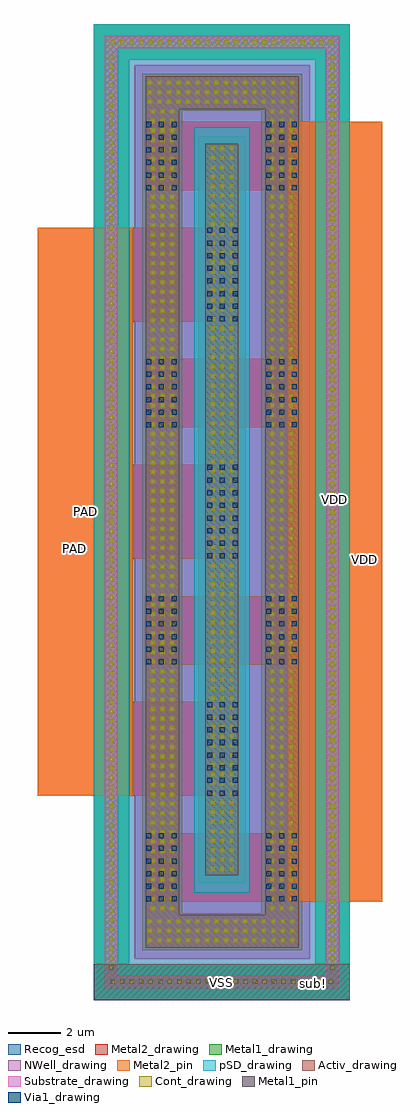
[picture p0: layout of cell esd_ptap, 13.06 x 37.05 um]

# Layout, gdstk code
import gdstk
lib = gdstk.Library(unit=1e-6, precision=1e-09)
def R(c, l, rs):  # rectangles x0, y0, x1, y1
    for r in rs: c.add(gdstk.rectangle(r[:2], r[2:], *l))
def A(c, l, x, y, w, h, nx, ny, dx, dy):  # array of equal rectangles
    R(c, l, [(x+i*dx, y+j*dy, x+i*dx+w, y+j*dy+h) for i in range(nx) for j in range(ny)])
def P(c, l, *ps):  # polygons
    for p in ps: c.add(gdstk.Polygon(p, *l))
Activ_drawing = (1, 0)
Cont_drawing = (6, 0)
Metal1_drawing = (8, 0)
Metal1_pin = (8, 2)
Metal2_drawing = (10, 0)
Metal2_pin = (10, 2)
pSD_drawing = (14, 0)
Via1_drawing = (19, 0)
NWell_drawing = (31, 0)
Substrate_drawing = (40, 0)
Recog_esd = (99, 30)

esd_ptap = lib.new_cell('esd_ptap')
R(esd_ptap, Activ_drawing, [(3.28,4.885,4.54,32.665)])
P(esd_ptap, Activ_drawing, [(1.03,2.135),(1.03,3.395),(5.56,3.395),(5.56,33.965),(2.29,33.965),(2.29,3.395),(1.03,3.395),(1.03,35.225),(6.82,35.225),(6.82,2.135)],
  [(-0.53,0.605),(-0.53,1.085),(7.87,1.085),(7.87,36.275),(-0.05,36.275),(-0.05,1.085),(-0.53,1.085),(-0.53,36.755),(8.35,36.755),(8.35,0.605)])
A(esd_ptap, Cont_drawing, -0.31, 0.765, 0.16, 0.16, 24, 2, 0.36, 35.67)
A(esd_ptap, Cont_drawing, -0.37, 1.3, 0.16, 0.16, 1, 97, 0, 0.36)
A(esd_ptap, Cont_drawing, 8.03, 1.3, 0.16, 0.16, 1, 97, 0, 0.36)
A(esd_ptap, Cont_drawing, 1.105, 2.345, 0.16, 0.16, 16, 3, 0.36, 0.36)
A(esd_ptap, Cont_drawing, 1.215, 3.56, 0.16, 0.16, 3, 85, 0.36, 0.36)
A(esd_ptap, Cont_drawing, 5.745, 3.56, 0.16, 0.16, 3, 85, 0.36, 0.36)
A(esd_ptap, Cont_drawing, 3.49, 5.045, 0.16, 0.16, 3, 77, 0.36, 0.36)
A(esd_ptap, Cont_drawing, 1.105, 34.175, 0.16, 0.16, 16, 3, 0.36, 0.36)
R(esd_ptap, Metal1_drawing, [(3.01,4.585,4.81,32.935)])
P(esd_ptap, Metal1_drawing, [(0.88,2.045),(0.88,3.455),(5.41,3.455),(5.41,33.905),(2.41,33.905),(2.41,3.455),(0.88,3.455),(0.88,35.315),(6.97,35.315),(6.97,2.045)],
  [(-0.95,0.155),(-0.95,1.505),(7.45,1.505),(7.45,35.855),(0.4,35.855),(0.4,1.505),(-0.95,1.505),(-0.95,37.205),(8.77,37.205),(8.77,0.155)])
R(esd_ptap, Metal1_pin, [(-0.95,0.155,8.77,1.505), (8.165,1.095,8.295,1.225)])
P(esd_ptap, Metal2_drawing, [(0.99,3.89),(0.99,6.49),(6.39,6.49),(6.39,12.89),(0.99,12.89),(0.99,15.49),(6.39,15.49),(6.39,21.89),(0.99,21.89),(0.99,24.49),(6.39,24.49),(6.39,30.89),(0.99,30.89),(0.99,33.49),(9.99,33.49),(9.99,3.89)],
  [(-3.07,7.91),(-3.07,29.47),(4.555,29.47),(4.555,25.91),(0.53,25.91),(0.53,20.47),(4.555,20.47),(4.555,16.91),(0.53,16.91),(0.53,11.47),(4.555,11.47),(4.555,7.91)])
R(esd_ptap, Metal2_pin, [(6.39,3.89,9.99,33.49), (-3.07,7.91,0.53,29.47), (9.25,16.81,9.38,16.94), (-1.735,17.235,-1.605,17.365)])
R(esd_ptap, pSD_drawing, [(2.86,4.225,4.96,33.295)])
P(esd_ptap, pSD_drawing, [(-0.95,0.155),(-0.95,1.505),(7.45,1.505),(7.45,35.855),(0.4,35.855),(0.4,1.505),(-0.95,1.505),(-0.95,37.205),(8.77,37.205),(8.77,0.155)])
A(esd_ptap, Via1_drawing, 1.04, 3.895, 0.19, 0.19, 3, 6, 0.48, 0.48)
A(esd_ptap, Via1_drawing, 5.6, 3.895, 0.19, 0.19, 3, 6, 0.48, 0.48)
A(esd_ptap, Via1_drawing, 3.355, 7.915, 0.19, 0.19, 3, 8, 0.48, 0.48)
A(esd_ptap, Via1_drawing, 1.04, 12.895, 0.19, 0.19, 3, 6, 0.48, 0.48)
A(esd_ptap, Via1_drawing, 5.6, 12.895, 0.19, 0.19, 3, 6, 0.48, 0.48)
A(esd_ptap, Via1_drawing, 3.355, 16.915, 0.19, 0.19, 3, 8, 0.48, 0.48)
A(esd_ptap, Via1_drawing, 1.04, 21.895, 0.19, 0.19, 3, 6, 0.48, 0.48)
A(esd_ptap, Via1_drawing, 5.6, 21.895, 0.19, 0.19, 3, 6, 0.48, 0.48)
A(esd_ptap, Via1_drawing, 3.355, 25.915, 0.19, 0.19, 3, 8, 0.48, 0.48)
A(esd_ptap, Via1_drawing, 1.04, 30.895, 0.19, 0.19, 3, 6, 0.48, 0.48)
A(esd_ptap, Via1_drawing, 5.6, 30.895, 0.19, 0.19, 3, 6, 0.48, 0.48)
R(esd_ptap, NWell_drawing, [(0.61,1.715,7.24,35.645)])
P(esd_ptap, Substrate_drawing, [(-0.53,0.605),(-0.53,1.085),(7.87,1.085),(7.87,36.275),(-0.05,36.275),(-0.05,1.085),(-0.53,1.085),(-0.53,36.755),(8.35,36.755),(8.35,0.605)])
R(esd_ptap, Recog_esd, [(-0.95,0.155,8.77,37.205)])
esd_ptap.add(gdstk.Label('PAD', (-1.27,18.69), layer=63, texttype=0))
esd_ptap.add(gdstk.Label('VDD', (8.2,19.145), layer=63, texttype=0))
esd_ptap.add(gdstk.Label('VSS', (3.91,0.83), layer=63, texttype=0))
esd_ptap.add(gdstk.Label('sub!', (7.38,0.78), layer=63, texttype=0))
esd_ptap.add(gdstk.Label('VSS', (8.23,1.16), layer=8, texttype=25))
esd_ptap.add(gdstk.Label('VDD', (9.315,16.875), layer=10, texttype=25))
esd_ptap.add(gdstk.Label('PAD', (-1.67,17.3), layer=10, texttype=25))

lib.write_gds('esd_ptap.gds')
